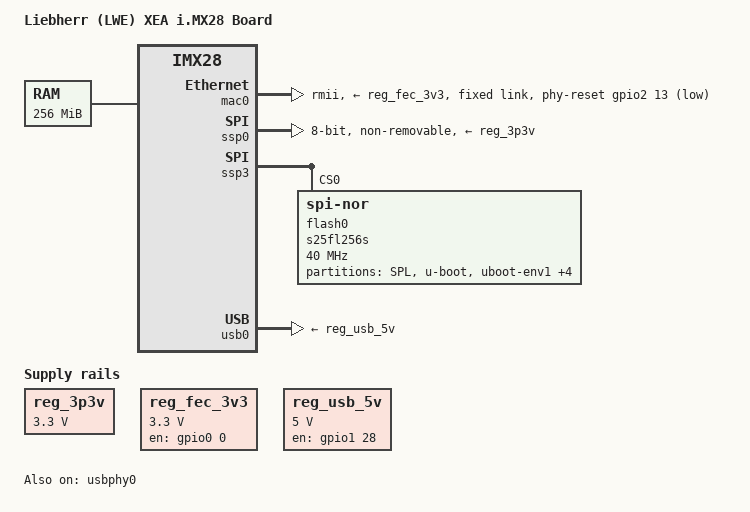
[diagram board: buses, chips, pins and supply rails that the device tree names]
// SPDX-License-Identifier: GPL-2.0+
/*
 * Copyright 2019
 * Lukasz Majewski, DENX Software Engineering, lukma@denx.de
 *
 * SPDX-License-Identifier:     GPL-2.0+ or X11
 *
 */

/dts-v1/;

#include "imx28.dtsi"

/ {
	model = "Liebherr (LWE) XEA i.MX28 Board";
	compatible = "lwe,xea", "fsl,imx28";

	aliases {
		spi3 = &ssp3;
	};

	memory@40000000 {
		device_type = "memory";
		reg = <0x40000000 0x10000000>;
	};

	reg_3p3v: regulator-3p3v {
		compatible = "regulator-fixed";
		regulator-name = "3P3V";
		regulator-min-microvolt = <3300000>;
		regulator-max-microvolt = <3300000>;
		regulator-always-on;
	};

	reg_fec_3v3: regulator-fec-3v3 {
		compatible = "regulator-fixed";
		regulator-name = "fec-3v3";
		regulator-min-microvolt = <3300000>;
		regulator-max-microvolt = <3300000>;
		gpio = <&gpio0 0 GPIO_ACTIVE_HIGH>;
		enable-active-high;
		regulator-boot-on;
	};

	reg_usb_5v: regulator-usb-5v {
		compatible = "regulator-fixed";
		regulator-name = "usb_vbus";
		regulator-min-microvolt = <5000000>;
		regulator-max-microvolt = <5000000>;
		gpio = <&gpio1 28 GPIO_ACTIVE_HIGH>;
		enable-active-high;
	};
};

&mac0 {
	phy-mode = "rmii";
	pinctrl-names = "default";
	pinctrl-0 = <&mac0_pins_a>;
	phy-supply = <&reg_fec_3v3>;
	phy-reset-gpios = <&gpio2 13 GPIO_ACTIVE_LOW>;
	phy-reset-duration = <1>;
	phy-reset-post-delay = <1>;
	status = "okay";

	fixed-link {
	      speed = <100>;
	      full-duplex;
	};
};

&ssp0 {
	compatible = "fsl,imx28-mmc";
	pinctrl-names = "default";
	pinctrl-0 = <&mmc0_8bit_pins_a>;
	bus-width = <8>;
	vmmc-supply = <&reg_3p3v>;
	non-removable;
	status = "okay";
};

&ssp3 {
	#address-cells = <1>;
	#size-cells = <0>;
	compatible = "fsl,imx28-spi";
	pinctrl-names = "default";
	pinctrl-0 = <&spi3_pins_b>;
	status = "okay";
	spi-max-frequency = <40000000>;
	num-cs = <2>;

	flash0: s25fl256s@0 {
		#address-cells = <1>;
		#size-cells = <1>;
		compatible = "jedec,spi-nor";
		spi-max-frequency = <40000000>;
		reg = <0>;

		partitions {
			compatible = "fixed-partitions";
			#address-cells = <1>;
			#size-cells = <1>;
			partition@0 {
				    label = "SPL";
				    reg = <0x0 0x10000>;
				    read-only;
			};
			partition@10000 {
				    label = "u-boot";
				    reg = <0x10000 0x70000>;
				    read-only;
			};
			partition@80000 {
				    label = "uboot-env1";
				    reg = <0x80000 0x10000>;
			};
			partition@90000 {
				    label = "uboot-env2";
				    reg = <0x90000 0x10000>;
			};
			partition@A0000 {
				    label = "rescue";
				    reg = <0xA0000 0xF40000>;
			};
			partition@FE0000 {
				    label = "spl-boot-data1";
				    reg = <0xFE0000 0x10000>;
			};
			partition@FF0000 {
				    label = "spl-boot-data2";
				    reg = <0xFF0000 0x10000>;
			};
		};
	};
};

&usb0 {
	vbus-supply = <&reg_usb_5v>;
	status = "okay";
};

&usbphy0 {
	status = "okay";
};
